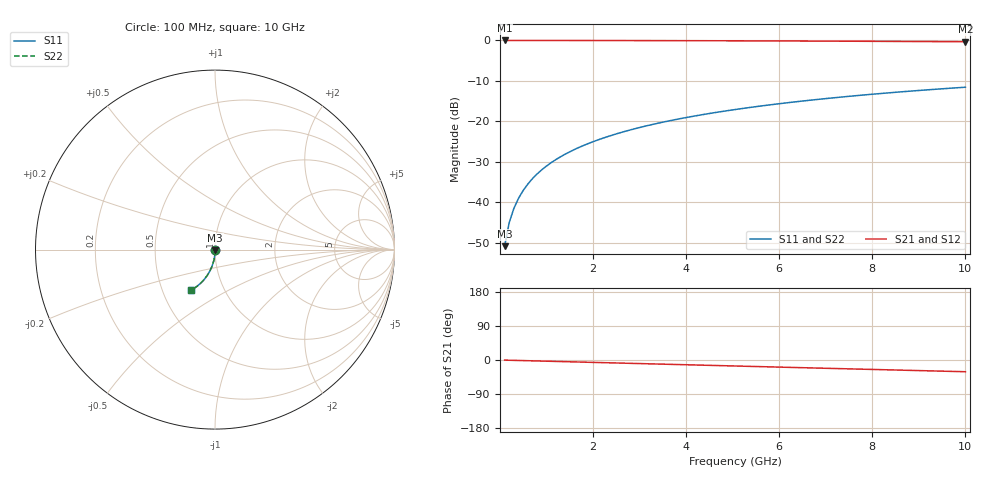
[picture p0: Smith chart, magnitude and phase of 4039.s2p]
# Hz S RI R 50.00
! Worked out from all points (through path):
!   100 points, 100 MHz to 10 GHz, reference 50 ohm
!   highest |S21| = -0.01 dB at 100 MHz (marker M1); lowest = -0.3 dB at 10 GHz (marker M2)
!   group delay of S21, straight-line fit = 8.61 ps
!   lowest |S11| = -50.8 dB at 100 MHz (marker M3), VSWR 1.01, Z = 50.1 - j0.282 ohm
!   |S11| at or under -10 dB: start of sweep to end of sweep
!   |S22| runs from -50.8 to -11.5 dB; largest |S21 - S12| = 0
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1e8  0.000621 -0.00282  0.9993 -0.00548  0.9993 -0.00548  0.000621 -0.00282
2e8  0.000575 -0.00564  0.9993 -0.011  0.9993 -0.011  0.000575 -0.00564
3e8  0.000497 -0.00846  0.9992 -0.0164  0.9992 -0.0164  0.000497 -0.00846
4e8  0.000388 -0.0113  0.999 -0.0219  0.999 -0.0219  0.000388 -0.0113
5e8  0.000247 -0.0141  0.9989 -0.0274  0.9989 -0.0274  0.000247 -0.0141
6e8  7.54e-05 -0.0169  0.9986 -0.0328  0.9986 -0.0328  7.54e-05 -0.0169
7e8  -0.000127 -0.0197  0.9984 -0.0383  0.9984 -0.0383  -0.000127 -0.0197
8e8  -0.000361 -0.0225  0.9981 -0.0438  0.9981 -0.0438  -0.000361 -0.0225
9e8  -0.000626 -0.0253  0.9978 -0.0493  0.9978 -0.0493  -0.000626 -0.0253
1.1e9  -0.00125 -0.031  0.997 -0.0602  0.997 -0.0602  -0.00125 -0.031
1.4e9  -0.00241 -0.0393  0.9956 -0.0765  0.9956 -0.0765  -0.00241 -0.0393
1.8e9  -0.00439 -0.0504  0.9931 -0.0983  0.9931 -0.0983  -0.00439 -0.0504
2.1e9  -0.00619 -0.0587  0.9909 -0.1145  0.9909 -0.1145  -0.00619 -0.0587
2.5e9  -0.00901 -0.0696  0.9874 -0.1361  0.9874 -0.1361  -0.00901 -0.0696
2.9e9  -0.0123 -0.0804  0.9833 -0.1575  0.9833 -0.1575  -0.0123 -0.0804
3.4e9  -0.0171 -0.0937  0.9774 -0.1841  0.9774 -0.1841  -0.0171 -0.0937
4.2e9  -0.0262 -0.1142  0.9661 -0.226  0.9661 -0.226  -0.0262 -0.1142
5.1e9  -0.0385 -0.1362  0.9508 -0.2721  0.9508 -0.2721  -0.0385 -0.1362
5.9e9  -0.0511 -0.1547  0.935 -0.312  0.935 -0.312  -0.0511 -0.1547
6.7e9  -0.0652 -0.1718  0.9172 -0.3507  0.9172 -0.3507  -0.0652 -0.1718
8.4e9  -0.0994 -0.2036  0.8735 -0.4283  0.8735 -0.4283  -0.0994 -0.2036
1e10  -0.1357 -0.2271  0.8261 -0.4952  0.8261 -0.4952  -0.1357 -0.2271
